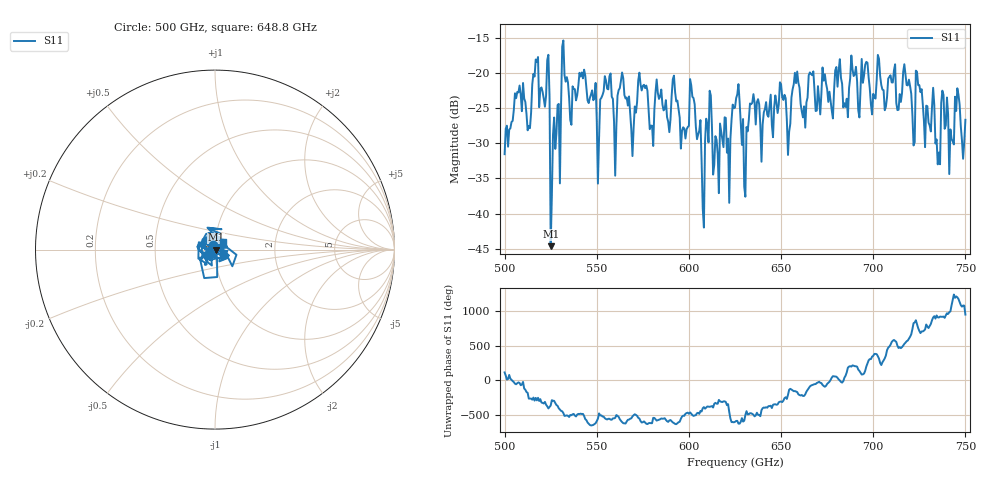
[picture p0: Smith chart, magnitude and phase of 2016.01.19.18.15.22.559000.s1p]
!Created with skrf (http://scikit-rf.org).
# GHz S RI R 50.0
!freq ReS11 ImS11
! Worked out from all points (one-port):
!   401 points, 500 GHz to 750 GHz, reference 50 ohm
!   lowest |S11| = -44.6 dB at 525 GHz (marker M1), VSWR 1.01, Z = 50.6 - j0.0222 ohm
!   |S11| at or under -10 dB: start of sweep to end of sweep
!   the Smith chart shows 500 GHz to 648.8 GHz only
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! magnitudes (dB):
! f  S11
! 500 GHz  -31.6
! 506.9 GHz  -22.7
! 513.1 GHz  -27.5
! 516.9 GHz  -18.1
! 523.1 GHz  -18.2
! 525 GHz  -44.6
! 531.2 GHz  -16.3
! 542.5 GHz  -20.8
! 551.2 GHz  -29.3
! 562.5 GHz  -22.2
! 569.4 GHz  -31.8
! 573.8 GHz  -21.7
! 579.4 GHz  -27.5
! 593.8 GHz  -24.0
! 596.9 GHz  -27.8
! 601.9 GHz  -23.4
! 607.5 GHz  -39.3
! 610.6 GHz  -29.9
! 615 GHz  -29.5
! 625 GHz  -25.0
! 630 GHz  -36.2
! 634.4 GHz  -24.3
! 656.2 GHz  -22.4
! 687.5 GHz  -20.8
! 718.8 GHz  -21.8
! 735 GHz  -33.0
! 738.8 GHz  -28.0
! 750 GHz  -26.7
